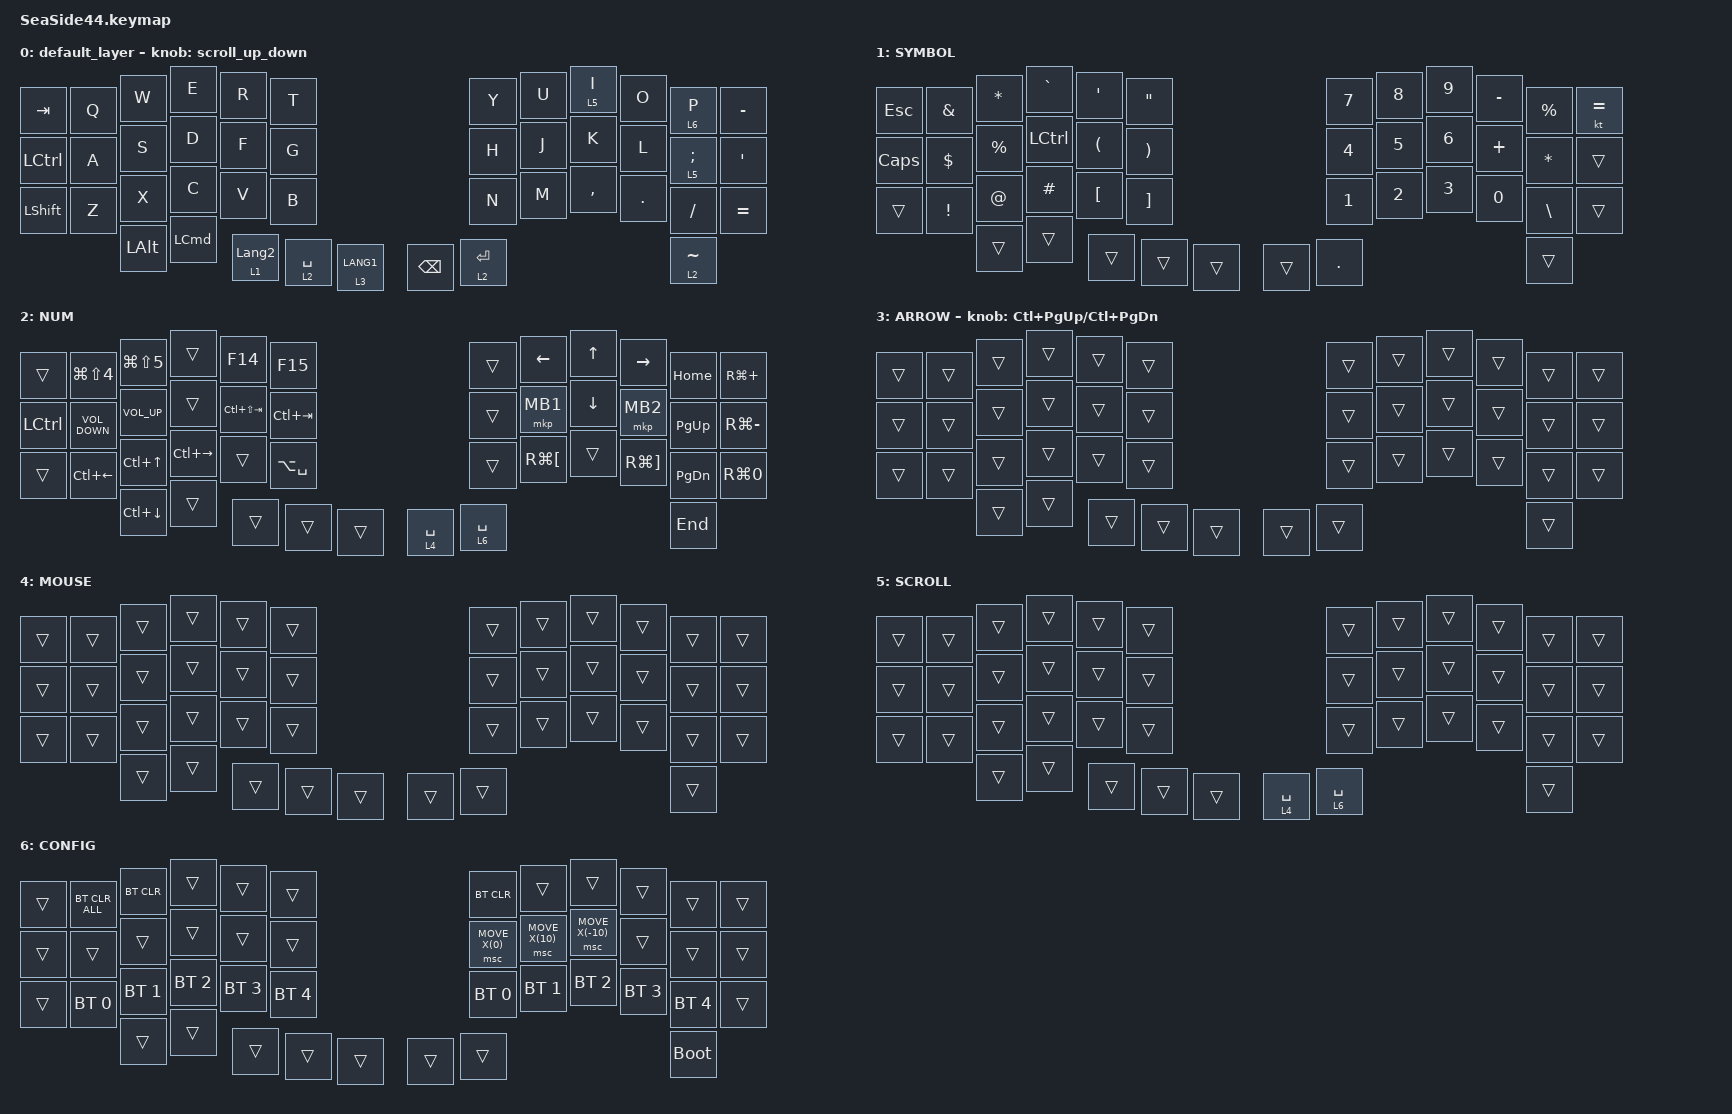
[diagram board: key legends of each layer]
#include <behaviors.dtsi>
#include <dt-bindings/zmk/bt.h>
#include <dt-bindings/zmk/keys.h>
#include <dt-bindings/zmk/pointing.h>

#define ZMK_POINTING_DEFAULT_SCRL_VAL 100
#define MOUSE 4
#define SCROLL 5
#define NUM 6

&mt {
    flavor = "balanced";
    quick-tap-ms = <300>;
};

&lt {
    flavor = "balanced";
    quick-tap-ms = <300>;
};

/ {
    combos { compatible = "zmk,combos"; };

    macros {
        to_layer_0: to_layer_0 {
            compatible = "zmk,behavior-macro-one-param";
            #binding-cells = <1>;
            bindings = <&to 0 &macro_param_1to1 &kp MACRO_PLACEHOLDER>;
            label = "TO_LAYER_0";
        };
    };

    behaviors {
        lt_to_layer_0: lt_to_layer_0 {
            compatible = "zmk,behavior-hold-tap";
            label = "LAYER_TAP_TO_0";
            bindings = <&mo>, <&to_layer_0>;

            #binding-cells = <2>;
            tapping-term-ms = <200>;
        };

        scroll_up_down: behavior_sensor_rotate_mouse_wheel_up_down {
            compatible = "zmk,behavior-sensor-rotate";
            #sensor-binding-cells = <0>;
            bindings = <&msc SCRL_UP>, <&msc SCRL_DOWN>;

            tap-ms = <20>;
        };
    };

    keymap {
        compatible = "zmk,keymap";

        default_layer {
            bindings = <
&kp TAB           &kp Q  &kp W         &kp E             &kp R             &kp T                                      &kp Y        &kp U  &lt 5 I      &kp O       &lt 6 P          &kp MINUS
&kp LEFT_CONTROL  &kp A  &kp S         &kp D             &kp F             &kp G                                      &kp H        &kp J  &kp K        &kp L       &lt 5 SEMICOLON  &kp SINGLE_QUOTE
&kp LSHFT         &kp Z  &kp X         &kp C             &kp V             &kp B                                      &kp N        &kp M  &kp COMMA    &kp PERIOD  &kp SLASH        &kp EQUAL
                         &kp LEFT_ALT  &kp LEFT_COMMAND  &lt 1 LANGUAGE_2  &lt 2 SPACE  &lt 3 LANG1    &kp BACKSPACE  &lt 2 ENTER         &lt 2 TILDE
            >;

            sensor-bindings = <&scroll_up_down>;
        };

        SYMBOL {
            bindings = <
&kp ESC       &kp AMPERSAND    &kp ASTERISK  &kp GRAVE  &kp SQT               &kp DOUBLE_QUOTES                        &kp NUMBER_7  &kp NUMBER_8  &kp NUMBER_9  &kp MINUS     &kp PERCENT    &kt EQUAL
&kp CAPSLOCK  &kp DOLLAR       &kp PERCENT   &kp LCTRL  &kp LEFT_PARENTHESIS  &kp RIGHT_PARENTHESIS                    &kp NUMBER_4  &kp NUMBER_5  &kp NUMBER_6  &kp PLUS      &kp ASTERISK   &trans
&trans        &kp EXCLAMATION  &kp AT_SIGN   &kp HASH   &kp LEFT_BRACKET      &kp RIGHT_BRACKET                        &kp NUMBER_1  &kp NUMBER_2  &kp NUMBER_3  &kp NUMBER_0  &kp BACKSLASH  &trans
                               &trans        &trans     &trans                &trans                 &trans    &trans  &kp PERIOD                  &trans
            >;
        };

        NUM {
            bindings = <
&trans            &kp LG(LS(NUMBER_4))  &kp LG(LS(N5))      &trans         &kp F14          &kp F15                               &trans       &kp LEFT_ARROW        &kp UP_ARROW  &kp RIGHT_ARROW        &kp HOME       &kp RG(PLUS)
&kp LEFT_CONTROL  &kp C_VOLUME_DOWN     &kp C_VOLUME_UP     &trans         &kp LC(LS(TAB))  &kp LC(TAB)                           &trans       &mkp MB1              &kp DOWN      &mkp MB2               &kp PAGE_UP    &kp RG(MINUS)
&trans            &kp LC(LEFT)          &kp LC(UP_ARROW)    &kp LC(RIGHT)  &trans           &kp LA(SPACE)                         &trans       &kp RG(LEFT_BRACKET)  &trans        &kp RG(RIGHT_BRACKET)  &kp PAGE_DOWN  &kp RG(N0)
                                        &kp LC(DOWN_ARROW)  &trans         &trans           &trans         &trans    &lt 4 SPACE  &lt 6 SPACE                        &kp END
            >;
        };

        ARROW {
            bindings = <
&trans  &trans  &trans  &trans  &trans  &trans                    &trans  &trans  &trans  &trans  &trans  &trans
&trans  &trans  &trans  &trans  &trans  &trans                    &trans  &trans  &trans  &trans  &trans  &trans
&trans  &trans  &trans  &trans  &trans  &trans                    &trans  &trans  &trans  &trans  &trans  &trans
                &trans  &trans  &trans  &trans  &trans    &trans  &trans          &trans
            >;

            sensor-bindings = <&inc_dec_kp LC(PAGE_UP) LC(PAGE_DOWN)>;
        };

        MOUSE {
            bindings = <
&trans  &trans  &trans  &trans  &trans  &trans                    &trans  &trans  &trans  &trans  &trans  &trans
&trans  &trans  &trans  &trans  &trans  &trans                    &trans  &trans  &trans  &trans  &trans  &trans
&trans  &trans  &trans  &trans  &trans  &trans                    &trans  &trans  &trans  &trans  &trans  &trans
                &trans  &trans  &trans  &trans  &trans    &trans  &trans          &trans
            >;
        };

        SCROLL {
            bindings = <
&trans  &trans  &trans  &trans  &trans  &trans                                    &trans                  &trans  &trans  &trans  &trans  &trans
&trans  &trans  &trans  &trans  &trans  &trans                                    &trans                  &trans  &trans  &trans  &trans  &trans
&trans  &trans  &trans  &trans  &trans  &trans                                    &trans                  &trans  &trans  &trans  &trans  &trans
                &trans  &trans  &trans  &trans  &trans    &lt_to_layer_0 4 SPACE  &lt_to_layer_0 6 SPACE          &trans
            >;
        };

        CONFIG {
            bindings = <
&trans  &bt BT_CLR_ALL  &bt BT_CLR    &trans        &trans        &trans                          &bt BT_CLR      &trans           &trans            &trans        &trans        &trans
&trans  &trans          &trans        &trans        &trans        &trans                          &msc MOVE_X(0)  &msc MOVE_X(10)  &msc MOVE_X(-10)  &trans        &trans        &trans
&trans  &bt BT_SEL 0    &bt BT_SEL 1  &bt BT_SEL 2  &bt BT_SEL 3  &bt BT_SEL 4                    &bt BT_SEL 0    &bt BT_SEL 1     &bt BT_SEL 2      &bt BT_SEL 3  &bt BT_SEL 4  &trans
                        &trans        &trans        &trans        &trans        &trans    &trans  &trans                           &bootloader
            >;
        };
    };
};
